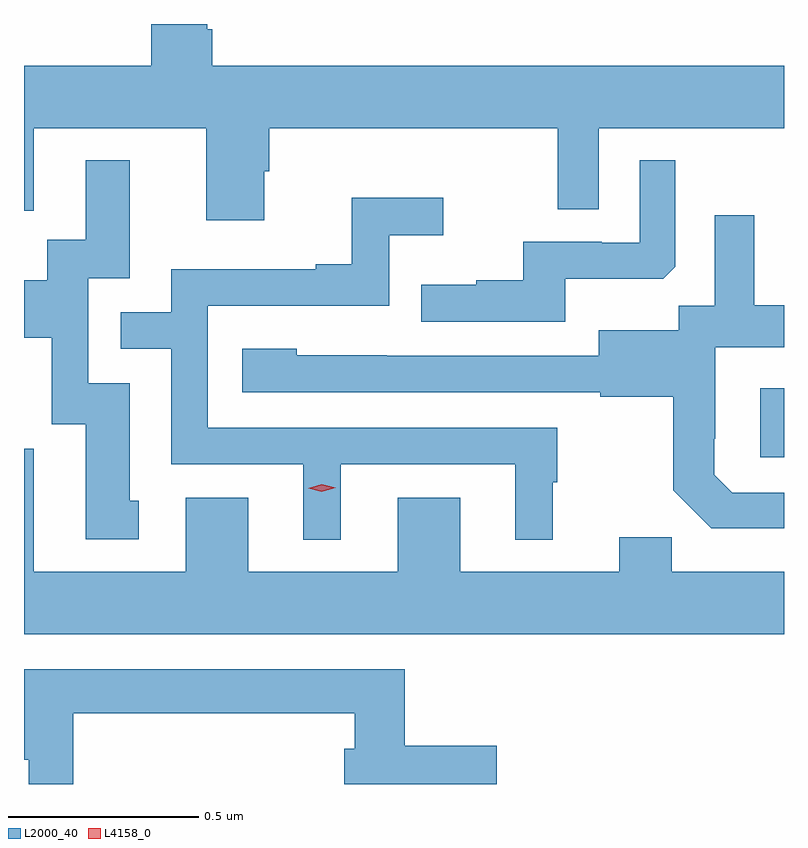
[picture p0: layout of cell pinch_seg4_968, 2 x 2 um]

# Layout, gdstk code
import gdstk
lib = gdstk.Library(unit=1e-6, precision=1e-09)
def R(c, l, rs):  # rectangles x0, y0, x1, y1
    for r in rs: c.add(gdstk.rectangle(r[:2], r[2:], *l))
def P(c, l, *ps):  # polygons
    for p in ps: c.add(gdstk.Polygon(p, *l))
L2000_40 = (2000, 40)
L4158_0 = (4158, 0)

pinch_seg4_968 = lib.new_cell('pinch_seg4_968')
R(pinch_seg4_968, L2000_40, [(723.869,767.982,723.931,768.163)])
P(pinch_seg4_968, L2000_40, [(722.563,768.735),(722.576,768.735),(722.576,768.848),(723.336,768.848),(723.336,768.634),(723.444,768.634),(723.444,768.848),(723.931,768.848),(723.931,769.012),(722.426,769.012),(722.426,769.108),(722.413,769.108),(722.413,769.122),(722.266,769.122),(722.266,769.012),(721.931,769.012),(721.931,768.63),(721.957,768.63),(721.957,768.848),(722.411,768.848),(722.411,768.606),(722.563,768.606)],
  [(722.233,767.868),(722.209,767.868),(722.209,768.177),(722.1,768.177),(722.1,768.453),(722.209,768.453),(722.209,768.763),(722.093,768.763),(722.093,768.554),(721.992,768.554),(721.992,768.448),(721.931,768.448),(721.931,768.296),(722.004,768.296),(722.004,768.069),(722.093,768.069),(722.093,767.766),(722.233,767.766)],
  [(723.355,768.452),(723.613,768.452),(723.645,768.483),(723.645,768.763),(723.552,768.763),(723.552,768.546),(723.452,768.546),(723.452,768.549),(723.245,768.549),(723.245,768.448),(723.121,768.448),(723.121,768.436),(722.977,768.436),(722.977,768.339),(723.355,768.339)],
  [(722.764,767.964),(723.224,767.964),(723.224,767.765),(723.322,767.765),(723.322,767.916),(723.334,767.916),(723.334,768.06),(722.415,768.06),(722.415,768.381),(722.892,768.381),(722.892,768.566),(723.034,768.566),(723.034,768.665),(722.794,768.665),(722.794,768.49),(722.699,768.49),(722.699,768.477),(722.319,768.477),(722.319,768.363),(722.185,768.363),(722.185,768.267),(722.319,768.267),(722.319,767.964),(722.666,767.964),(722.666,767.765),(722.764,767.765)],
  [(723.931,767.889),(723.795,767.889),(723.748,767.936),(723.748,768.031),(723.75,768.031),(723.75,768.272),(723.931,768.272),(723.931,768.382),(723.853,768.382),(723.853,768.619),(723.749,768.619),(723.749,768.38),(723.654,768.38),(723.654,768.316),(723.443,768.316),(723.443,768.249),(722.885,768.249),(722.885,768.25),(722.649,768.25),(722.649,768.268),(722.505,768.268),(722.505,768.153),(723.447,768.153),(723.447,768.141),(723.639,768.141),(723.639,767.895),(723.739,767.795),(723.931,767.795)],
  [(723.931,767.68),(723.635,767.68),(723.635,767.771),(723.497,767.771),(723.497,767.68),(723.079,767.68),(723.079,767.875),(722.915,767.875),(722.915,767.68),(722.521,767.68),(722.521,767.875),(722.357,767.875),(722.357,767.68),(721.957,767.68),(721.957,768.004),(721.931,768.004),(721.931,767.516),(723.931,767.516)],
  [(722.06,767.308),(722.801,767.308),(722.801,767.215),(722.774,767.215),(722.774,767.122),(723.175,767.122),(723.175,767.223),(722.933,767.223),(722.933,767.424),(721.931,767.424),(721.931,767.186),(721.944,767.186),(721.944,767.122),(722.06,767.122)])
P(pinch_seg4_968, L4158_0, [(722.715,767.891),(722.679,767.9),(722.679,767.9),(722.679,767.9),(722.715,767.911),(722.751,767.902),(722.751,767.902),(722.751,767.902)])

lib.write_gds('pinch_seg4_968.gds')
